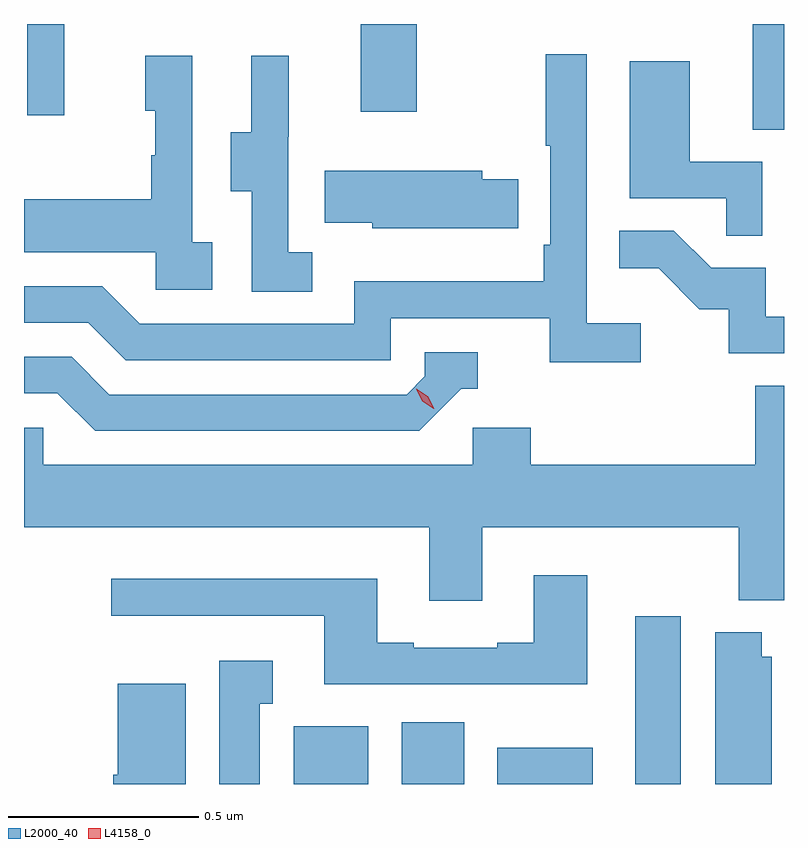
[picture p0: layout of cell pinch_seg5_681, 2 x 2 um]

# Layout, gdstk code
import gdstk
lib = gdstk.Library(unit=1e-6, precision=1e-09)
def R(c, l, rs):  # rectangles x0, y0, x1, y1
    for r in rs: c.add(gdstk.rectangle(r[:2], r[2:], *l))
def P(c, l, *ps):  # polygons
    for p in ps: c.add(gdstk.Polygon(p, *l))
L2000_40 = (2000, 40)
L4158_0 = (4158, 0)

pinch_seg5_681 = lib.new_cell('pinch_seg5_681')
R(pinch_seg5_681, L2000_40, [(1043.595,849.424,1043.791,849.576), (1043.879,849.424,1044.043,849.586), (1044.131,849.424,1044.382,849.52), (1044.494,849.424,1044.613,849.865), (1044.803,851.146,1044.885,851.424), (1042.893,851.184,1042.991,851.424), (1043.771,851.193,1043.919,851.424)])
P(pinch_seg5_681, L2000_40, [(1044.508,850.636),(1044.366,850.636),(1044.366,851.344),(1044.258,851.344),(1044.258,851.104),(1044.27,851.104),(1044.27,850.843),(1044.253,850.843),(1044.253,850.747),(1043.754,850.747),(1043.754,850.635),(1043.19,850.635),(1043.091,850.734),(1042.885,850.734),(1042.885,850.638),(1043.054,850.638),(1043.153,850.539),(1043.85,850.539),(1043.85,850.65),(1044.269,850.65),(1044.269,850.534),(1044.508,850.534)],
  [(1043.644,850.823),(1043.58,850.823),(1043.58,851.127),(1043.582,851.127),(1043.582,851.341),(1043.483,851.341),(1043.483,851.139),(1043.429,851.139),(1043.429,850.984),(1043.484,850.984),(1043.484,850.72),(1043.644,850.72)],
  [(1043.38,850.85),(1043.328,850.85),(1043.328,851.341),(1043.204,851.341),(1043.204,851.196),(1043.23,851.196),(1043.23,851.078),(1043.22,851.078),(1043.22,850.963),(1042.885,850.963),(1042.885,850.823),(1043.232,850.823),(1043.232,850.725),(1043.38,850.725)],
  [(1044.828,851.061),(1044.637,851.061),(1044.637,851.326),(1044.479,851.326),(1044.479,850.965),(1044.733,850.965),(1044.733,850.867),(1044.828,850.867)],
  [(1044.074,850.887),(1044.185,850.887),(1044.185,851.016),(1044.091,851.016),(1044.091,851.038),(1043.677,851.038),(1043.677,850.901),(1043.802,850.901),(1043.802,850.886),(1044.074,850.886)],
  [(1044.885,850.653),(1044.837,850.653),(1044.837,850.782),(1044.693,850.782),(1044.595,850.88),(1044.451,850.88),(1044.451,850.781),(1044.555,850.781),(1044.662,850.674),(1044.739,850.674),(1044.739,850.557),(1044.885,850.557)],
  [(1044.036,850.464),(1044.079,850.464),(1044.079,850.56),(1043.94,850.56),(1043.94,850.497),(1043.892,850.449),(1043.109,850.449),(1043.01,850.548),(1042.885,850.548),(1042.885,850.452),(1042.973,850.452),(1043.072,850.353),(1043.925,850.353)],
  [(1044.091,850.1),(1044.766,850.1),(1044.766,849.908),(1044.885,849.908),(1044.885,850.472),(1044.809,850.472),(1044.809,850.264),(1044.218,850.264),(1044.218,850.362),(1044.066,850.362),(1044.066,850.264),(1042.935,850.264),(1042.935,850.362),(1042.885,850.362),(1042.885,850.1),(1043.951,850.1),(1043.951,849.906),(1044.091,849.906)],
  [(1044.367,849.973),(1044.227,849.973),(1044.227,849.796),(1044.131,849.796),(1044.131,849.783),(1043.911,849.783),(1043.911,849.796),(1043.815,849.796),(1043.815,849.964),(1043.115,849.964),(1043.115,849.867),(1043.675,849.867),(1043.675,849.687),(1044.135,849.687),(1044.135,849.686),(1044.367,849.686)],
  [(1044.853,849.759),(1044.826,849.759),(1044.826,849.823),(1044.704,849.823),(1044.704,849.424),(1044.853,849.424)],
  [(1043.506,849.635),(1043.539,849.635),(1043.539,849.748),(1043.399,849.748),(1043.399,849.424),(1043.506,849.424)],
  [(1043.311,849.688),(1043.132,849.688),(1043.132,849.448),(1043.12,849.448),(1043.12,849.424),(1043.311,849.424)])
P(pinch_seg5_681, L4158_0, [(1043.963,850.411),(1043.933,850.431),(1043.917,850.463),(1043.917,850.464),(1043.917,850.464),(1043.947,850.444),(1043.964,850.412),(1043.964,850.411)])

lib.write_gds('pinch_seg5_681.gds')
